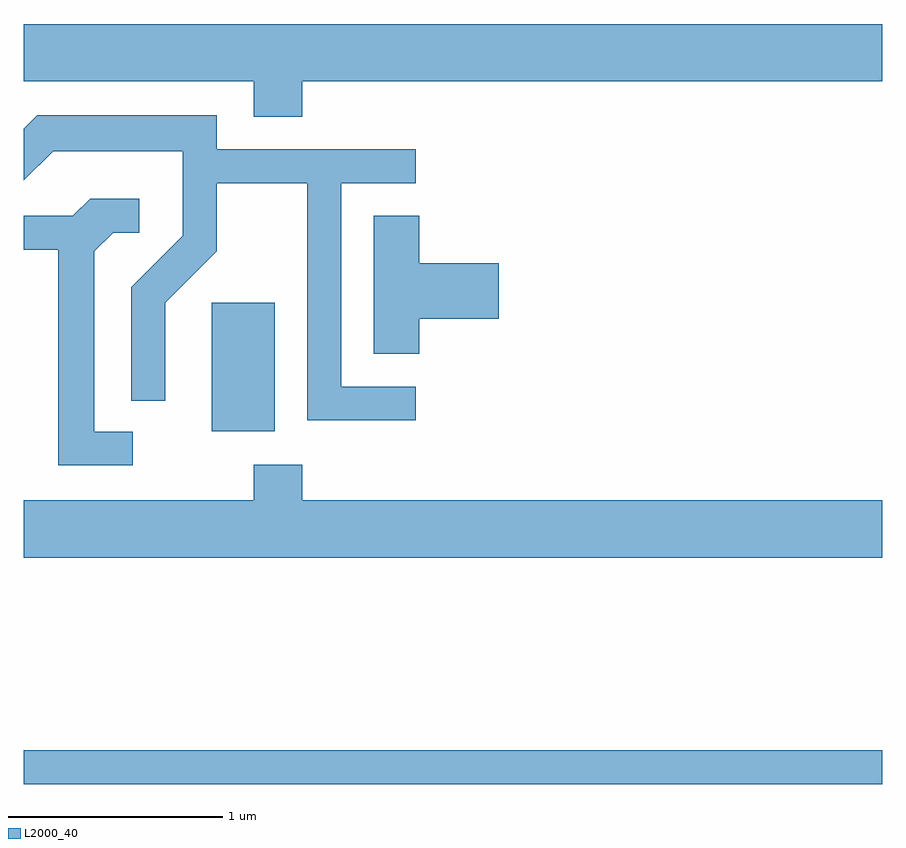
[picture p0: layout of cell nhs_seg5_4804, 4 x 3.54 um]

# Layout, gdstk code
import gdstk
lib = gdstk.Library(unit=1e-6, precision=1e-09)
def R(c, l, rs):  # rectangles x0, y0, x1, y1
    for r in rs: c.add(gdstk.rectangle(r[:2], r[2:], *l))
def P(c, l, *ps):  # polygons
    for p in ps: c.add(gdstk.Polygon(p, *l))
L2000_40 = (2000, 40)

nhs_seg5_4804 = lib.new_cell('nhs_seg5_4804')
R(nhs_seg5_4804, L2000_40, [(327.611,1462.401,331.611,1462.559), (328.486,1464.046,328.779,1464.644)])
P(nhs_seg5_4804, L2000_40, [(328.909,1465.676),(331.611,1465.676),(331.611,1465.944),(327.611,1465.944),(327.611,1465.676),(328.681,1465.676),(328.681,1465.511),(328.909,1465.511)],
  [(329.438,1464.254),(329.089,1464.254),(329.089,1465.201),(329.438,1465.201),(329.438,1465.359),(328.509,1465.359),(328.509,1465.519),(327.674,1465.519),(327.611,1465.456),(327.611,1465.215),(327.747,1465.351),(328.351,1465.351),(328.351,1464.957),(328.111,1464.717),(328.111,1464.188),(328.269,1464.188),(328.269,1464.644),(328.509,1464.884),(328.509,1465.201),(328.931,1465.201),(328.931,1464.096),(329.438,1464.096)],
  [(328.118,1464.044),(327.939,1464.044),(327.939,1464.884),(328.027,1464.971),(328.148,1464.971),(328.148,1465.129),(327.919,1465.129),(327.839,1465.049),(327.611,1465.049),(327.611,1464.891),(327.771,1464.891),(327.771,1463.886),(328.118,1463.886)],
  [(329.454,1464.571),(329.824,1464.571),(329.824,1464.829),(329.454,1464.829),(329.454,1465.049),(329.241,1465.049),(329.241,1464.406),(329.454,1464.406)],
  [(331.611,1463.724),(328.909,1463.724),(328.909,1463.889),(328.681,1463.889),(328.681,1463.724),(327.611,1463.724),(327.611,1463.456),(331.611,1463.456)])

lib.write_gds('nhs_seg5_4804.gds')
